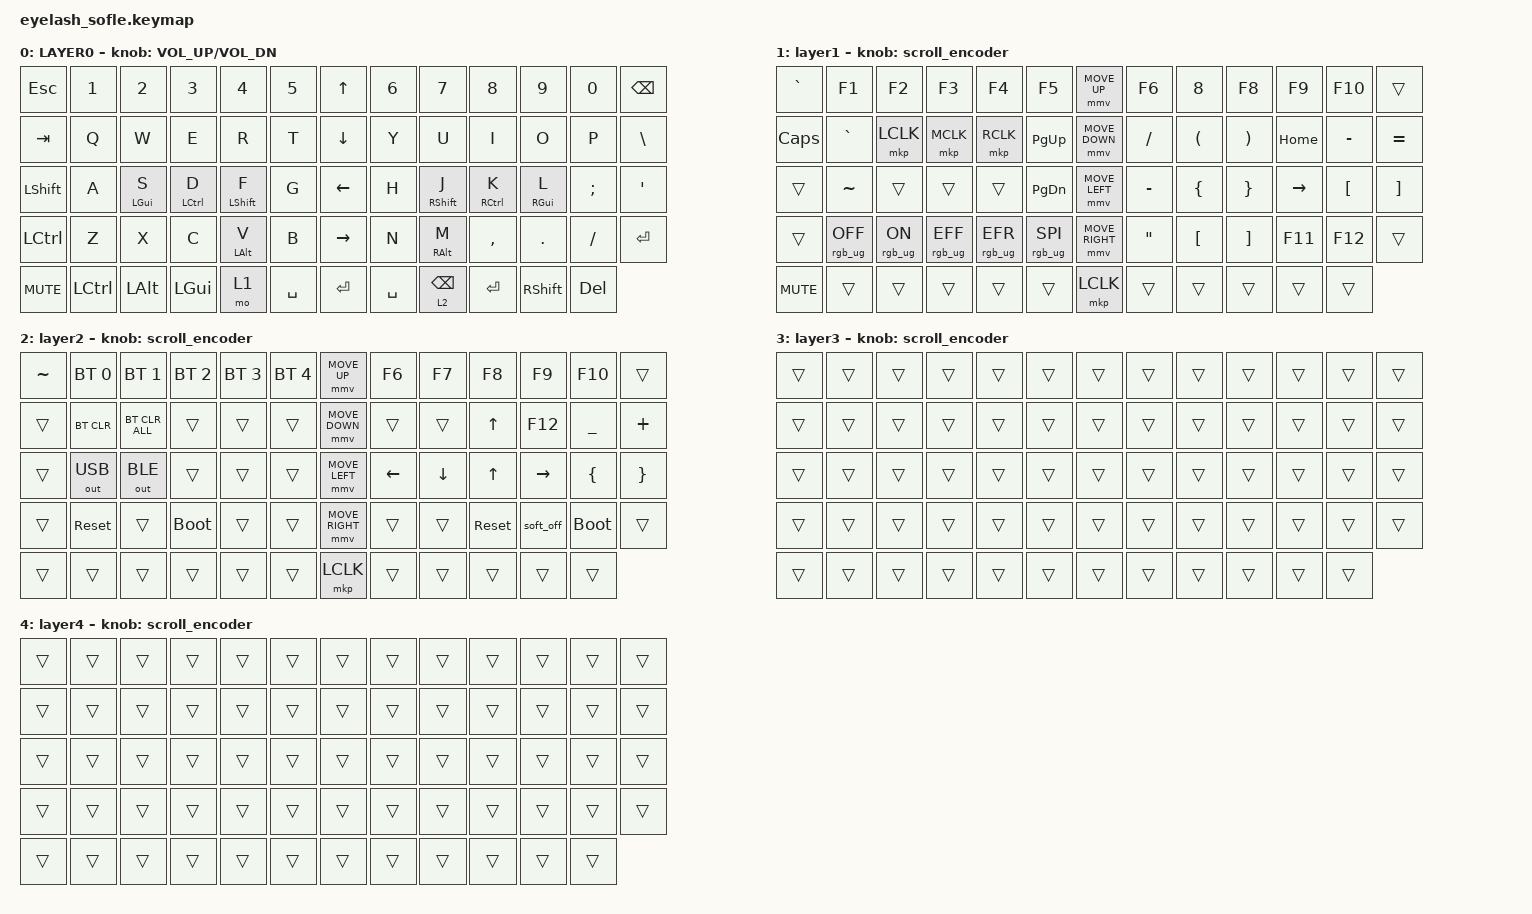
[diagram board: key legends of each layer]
#define ZMK_POINTING_DEFAULT_MOVE_VAL 1200  // 600
#define ZMK_POINTING_DEFAULT_SCRL_VAL 25   // 10

#include <input/processors.dtsi>
#include <zephyr/dt-bindings/input/input-event-codes.h>
#include <behaviors.dtsi>
#include <dt-bindings/zmk/bt.h>
#include <dt-bindings/zmk/keys.h>
#include <dt-bindings/zmk/outputs.h>
#include <dt-bindings/zmk/pointing.h>
#include <dt-bindings/zmk/rgb.h>

&mmv_input_listener { input-processors = <&zip_xy_scaler 2 1>; };

&msc_input_listener { input-processors = <&zip_scroll_scaler 2 1>; };

&msc {
    acceleration-exponent = <1>;      // 0
    time-to-max-speed-ms = <100>;       // 300
    delay-ms = <0>;                   // 0
};

&mmv {
    time-to-max-speed-ms = <500>;
    acceleration-exponent = <1>;
    trigger-period-ms = <16>;
};

&soft_off { hold-time-ms = <2000>; };

&lt {
    quick-tap-ms = <175>;
    flavor = "tap-preferred";
};

/ {
    scroll_encoder: scroll_encoder {
        compatible = "zmk,behavior-sensor-rotate";
        #sensor-binding-cells = <0>;
        bindings = <&msc SCRL_DOWN>, <&msc SCRL_UP>;

        tap-ms = <100>;
    };

    hmr: hmr {
        compatible = "zmk,behavior-hold-tap";
        label = "HMR";
        bindings = <&kp>, <&kp>;

        #binding-cells = <2>;
        tapping-term-ms = <280>;
        quick-tap-ms = <175>;
        require-prior-idle-ms = <100>;
        flavor = "balanced";
        hold-trigger-on-release;
        hold-trigger-key-positions = <0 1 13 14 15 16 17 18 26 27 28 29 30 31 39 40 41 42 43 44 53 54 55 56 2 3 4 5 57 52>;
    };

    hml: hml {
        compatible = "zmk,behavior-hold-tap";
        label = "HML";
        bindings = <&kp>, <&kp>;

        #binding-cells = <2>;
        tapping-term-ms = <280>;
        quick-tap-ms = <175>;
        require-prior-idle-ms = <100>;
        flavor = "balanced";
        hold-trigger-on-release;
        hold-trigger-key-positions = <7 8 9 10 11 12 20 21 22 23 24 25 33 34 35 36 37 38 46 47 48 49 50 51 60 61 62 63 59 57 56>;
    };

    behaviors {
    };

    combos {
        compatible = "zmk,combos";

        softoff {
            bindings = <&soft_off>;
            key-positions = <14 28 40>;
        };
    };

    macros {
        ctrl_shift: ctrl_shift {
            compatible = "zmk,behavior-macro";
            #binding-cells = <0>;
            bindings = <&macro_press>, <&kp LSHFT &kp LCTRL>;

            label = "CTRL_SHIFT";
        };
    };

    keymap {
        compatible = "zmk,keymap";

        layer0 {
            bindings = <
&kp ESC         &kp N1     &kp N2           &kp N3        &kp N4             &kp N5       &kp UP_ARROW     &kp N6     &kp N7              &kp N8        &kp N9           &kp N0      &kp BACKSPACE
&kp TAB         &kp Q      &kp W            &kp E         &kp R              &kp T        &kp DOWN_ARROW   &kp Y      &kp U               &kp I         &kp O            &kp P       &kp BSLH
&kp LEFT_SHIFT  &kp A      &hml LEFT_GUI S  &hml LCTRL D  &hml LEFT_SHIFT F  &kp G        &kp LEFT_ARROW   &kp H      &hmr RIGHT_SHIFT J  &hmr RCTRL K  &hmr RGUI L      &kp SEMI    &kp APOS
&kp LCTRL       &kp Z      &kp X            &kp C         &hml LEFT_ALT V    &kp B        &kp RIGHT_ARROW  &kp N      &hmr RIGHT_ALT M    &kp COMMA     &kp DOT          &kp FSLH    &kp ENTER
&kp C_MUTE      &kp LCTRL  &kp LEFT_ALT     &kp LEFT_GUI  &mo 1              &kp SPACE    &kp ENTER        &kp SPACE  &lt 2 BACKSPACE     &kp ENTER     &kp RIGHT_SHIFT  &kp DELETE
            >;

            sensor-bindings = <&inc_dec_kp C_VOLUME_UP C_VOL_DN>;
            display-name = "LAYER0";
        };

        layer_1 {
            bindings = <
&kp GRAVE     &kp F1           &kp F2          &kp F3           &kp F4           &kp F5             &mmv MOVE_UP     &kp F6             &kp N8                &kp F8                 &kp F9     &kp F10           &trans
&kp CAPSLOCK  &kp GRAVE        &mkp LCLK       &mkp MCLK        &mkp RCLK        &kp PAGE_UP        &mmv MOVE_DOWN   &kp SLASH          &kp LEFT_PARENTHESIS  &kp RIGHT_PARENTHESIS  &kp HOME   &kp MINUS         &kp EQUAL
&trans        &kp TILDE        &trans          &trans           &trans           &kp PAGE_DOWN      &mmv MOVE_LEFT   &kp MINUS          &kp LEFT_BRACE        &kp RIGHT_BRACE        &kp RIGHT  &kp LEFT_BRACKET  &kp RIGHT_BRACKET
&trans        &rgb_ug RGB_OFF  &rgb_ug RGB_ON  &rgb_ug RGB_EFF  &rgb_ug RGB_EFR  &rgb_ug RGB_SPI    &mmv MOVE_RIGHT  &kp DOUBLE_QUOTES  &kp LEFT_BRACKET      &kp RIGHT_BRACKET      &kp F11    &kp F12           &trans
&kp C_MUTE    &trans           &trans          &trans           &trans           &trans             &mkp LCLK        &trans             &trans                &trans                 &trans     &trans
            >;

            display-name = "layer1";
            sensor-bindings = <&scroll_encoder>;
        };

        layer_2 {
            bindings = <
&kp TILDE  &bt BT_SEL 0  &bt BT_SEL 1    &bt BT_SEL 2  &bt BT_SEL 3  &bt BT_SEL 4    &mmv MOVE_UP     &kp F6          &kp F7          &kp F8        &kp F9     &kp F10      &trans
&trans     &bt BT_CLR    &bt BT_CLR_ALL  &trans        &trans        &trans          &mmv MOVE_DOWN   &trans          &trans          &kp UP_ARROW  &kp F12    &kp UNDER    &kp PLUS
&trans     &out OUT_USB  &out OUT_BLE    &trans        &trans        &trans          &mmv MOVE_LEFT   &kp LEFT_ARROW  &kp DOWN_ARROW  &kp UP_ARROW  &kp RIGHT  &kp LBRC     &kp RBRC
&trans     &sys_reset    &trans          &bootloader   &trans        &trans          &mmv MOVE_RIGHT  &trans          &trans          &sys_reset    &soft_off  &bootloader  &trans
&trans     &trans        &trans          &trans        &trans        &trans          &mkp LCLK        &trans          &trans          &trans        &trans     &trans
            >;

            display-name = "layer2";
            sensor-bindings = <&scroll_encoder>;
        };

        layer_3 {
            bindings = <
&trans  &trans  &trans  &trans  &trans  &trans    &trans  &trans  &trans  &trans  &trans  &trans  &trans
&trans  &trans  &trans  &trans  &trans  &trans    &trans  &trans  &trans  &trans  &trans  &trans  &trans
&trans  &trans  &trans  &trans  &trans  &trans    &trans  &trans  &trans  &trans  &trans  &trans  &trans
&trans  &trans  &trans  &trans  &trans  &trans    &trans  &trans  &trans  &trans  &trans  &trans  &trans
&trans  &trans  &trans  &trans  &trans  &trans    &trans  &trans  &trans  &trans  &trans  &trans
            >;

            display-name = "layer3";
            sensor-bindings = <&scroll_encoder>;
        };

        layer_4 {
            bindings = <
&trans  &trans  &trans  &trans  &trans  &trans    &trans  &trans  &trans  &trans  &trans  &trans  &trans
&trans  &trans  &trans  &trans  &trans  &trans    &trans  &trans  &trans  &trans  &trans  &trans  &trans
&trans  &trans  &trans  &trans  &trans  &trans    &trans  &trans  &trans  &trans  &trans  &trans  &trans
&trans  &trans  &trans  &trans  &trans  &trans    &trans  &trans  &trans  &trans  &trans  &trans  &trans
&trans  &trans  &trans  &trans  &trans  &trans    &trans  &trans  &trans  &trans  &trans  &trans
            >;

            display-name = "layer4";
            sensor-bindings = <&scroll_encoder>;
        };
    };
};
